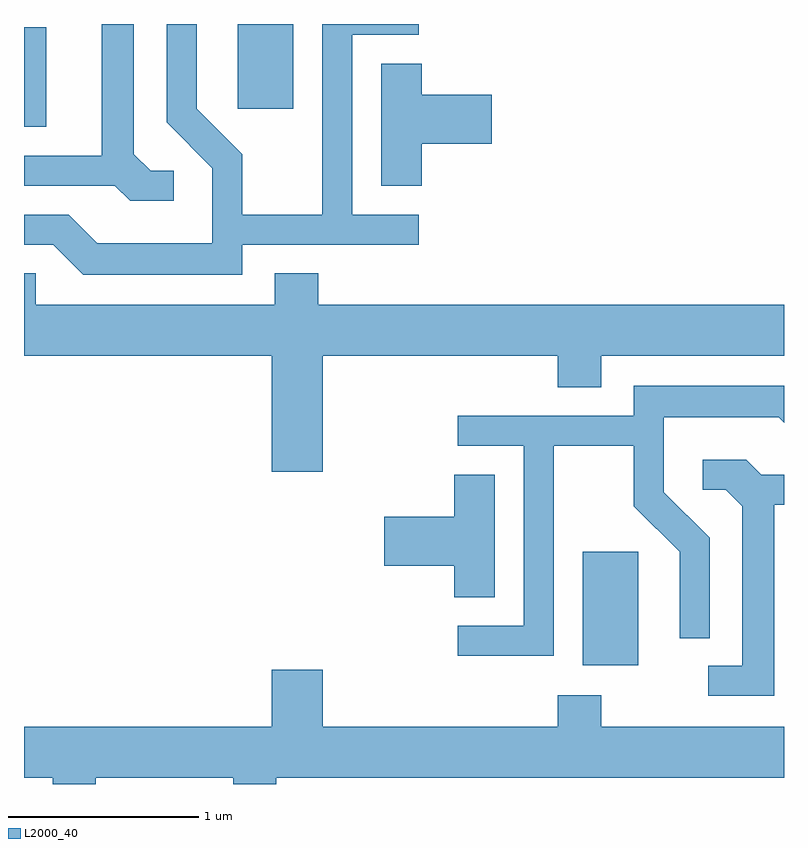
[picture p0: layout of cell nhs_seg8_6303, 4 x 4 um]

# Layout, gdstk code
import gdstk
lib = gdstk.Library(unit=1e-6, precision=1e-09)
def R(c, l, rs):  # rectangles x0, y0, x1, y1
    for r in rs: c.add(gdstk.rectangle(r[:2], r[2:], *l))
def P(c, l, *ps):  # polygons
    for p in ps: c.add(gdstk.Polygon(p, *l))
L2000_40 = (2000, 40)

nhs_seg8_6303 = lib.new_cell('nhs_seg8_6303')
R(nhs_seg8_6303, L2000_40, [(376.551,1876.966,376.844,1877.564), (373.611,1879.801,373.729,1880.324), (374.736,1879.896,375.029,1880.342)])
P(nhs_seg8_6303, L2000_40, [(374.759,1879.181),(375.688,1879.181),(375.688,1879.339),(375.339,1879.339),(375.339,1880.286),(375.688,1880.286),(375.688,1880.342),(375.181,1880.342),(375.181,1879.339),(374.759,1879.339),(374.759,1879.657),(374.519,1879.897),(374.519,1880.342),(374.361,1880.342),(374.361,1879.824),(374.601,1879.584),(374.601,1879.189),(373.997,1879.189),(373.847,1879.339),(373.611,1879.339),(373.611,1879.181),(373.764,1879.181),(373.924,1879.021),(374.759,1879.021)],
  [(374.398,1879.569),(374.277,1879.569),(374.189,1879.657),(374.189,1880.342),(374.021,1880.342),(374.021,1879.649),(373.611,1879.649),(373.611,1879.491),(374.089,1879.491),(374.169,1879.411),(374.398,1879.411)],
  [(375.704,1879.711),(376.074,1879.711),(376.074,1879.969),(375.704,1879.969),(375.704,1880.134),(375.491,1880.134),(375.491,1879.491),(375.704,1879.491)],
  [(375.184,1878.596),(376.421,1878.596),(376.421,1878.431),(376.649,1878.431),(376.649,1878.596),(377.611,1878.596),(377.611,1878.864),(375.159,1878.864),(375.159,1879.029),(374.931,1879.029),(374.931,1878.864),(373.674,1878.864),(373.674,1879.029),(373.611,1879.029),(373.611,1878.596),(374.916,1878.596),(374.916,1877.986),(375.184,1877.986)],
  [(376.399,1878.121),(376.821,1878.121),(376.821,1877.804),(377.061,1877.564),(377.061,1877.108),(377.219,1877.108),(377.219,1877.637),(376.979,1877.877),(376.979,1878.271),(377.584,1878.271),(377.611,1878.244),(377.611,1878.439),(376.821,1878.439),(376.821,1878.279),(375.893,1878.279),(375.893,1878.121),(376.241,1878.121),(376.241,1877.174),(375.893,1877.174),(375.893,1877.016),(376.399,1877.016)],
  [(377.559,1877.811),(377.611,1877.811),(377.611,1877.969),(377.492,1877.969),(377.412,1878.049),(377.183,1878.049),(377.183,1877.891),(377.304,1877.891),(377.391,1877.804),(377.391,1876.964),(377.213,1876.964),(377.213,1876.806),(377.559,1876.806)],
  [(376.089,1877.969),(375.876,1877.969),(375.876,1877.749),(375.506,1877.749),(375.506,1877.491),(375.876,1877.491),(375.876,1877.326),(376.089,1877.326)],
  [(373.989,1876.376),(374.711,1876.376),(374.711,1876.342),(374.939,1876.342),(374.939,1876.376),(377.611,1876.376),(377.611,1876.644),(376.649,1876.644),(376.649,1876.809),(376.421,1876.809),(376.421,1876.644),(375.184,1876.644),(375.184,1876.944),(374.916,1876.944),(374.916,1876.644),(373.611,1876.644),(373.611,1876.376),(373.761,1876.376),(373.761,1876.342),(373.989,1876.342)])

lib.write_gds('nhs_seg8_6303.gds')
